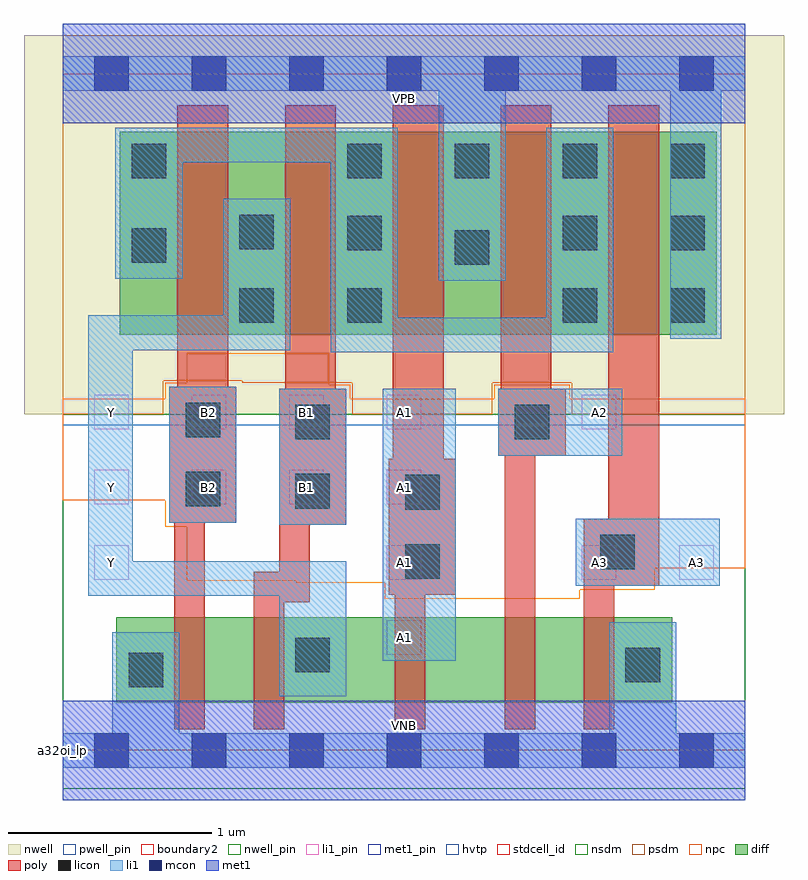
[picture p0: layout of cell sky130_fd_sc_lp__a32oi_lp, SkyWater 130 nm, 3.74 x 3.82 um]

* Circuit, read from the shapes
.subckt sky130_fd_sc_lp__a32oi_lp A1 A2 A3 B1 B2 VGND VNB VPB VPWR Y
XM1 n1 B2 VGND VNB sky130_fd_pr__nfet_01v8 w=0.42 l=0.15
XM2 Y B1 n1 VNB sky130_fd_pr__nfet_01v8 w=0.42 l=0.15
XM3 n2 A1 Y VNB sky130_fd_pr__nfet_01v8 w=0.42 l=0.15
XM4 n3 A2 n2 VNB sky130_fd_pr__nfet_01v8 w=0.42 l=0.15
XM5 VGND A3 n3 VNB sky130_fd_pr__nfet_01v8 w=0.42 l=0.15
XM6 Y B2 n4 VPB sky130_fd_pr__pfet_01v8_hvt w=1 l=0.25
XM7 n4 B1 Y VPB sky130_fd_pr__pfet_01v8_hvt w=1 l=0.25
XM8 VPWR A1 n4 VPB sky130_fd_pr__pfet_01v8_hvt w=1 l=0.25
XM9 n4 A2 VPWR VPB sky130_fd_pr__pfet_01v8_hvt w=1 l=0.25
XM10 VPWR A3 n4 VPB sky130_fd_pr__pfet_01v8_hvt w=1 l=0.25
.ends

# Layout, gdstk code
import gdstk
lib = gdstk.Library(unit=1e-6, precision=1e-09)
def R(c, l, rs):  # rectangles x0, y0, x1, y1
    for r in rs: c.add(gdstk.rectangle(r[:2], r[2:], *l))
def A(c, l, x, y, w, h, nx, ny, dx, dy):  # array of equal rectangles
    R(c, l, [(x+i*dx, y+j*dy, x+i*dx+w, y+j*dy+h) for i in range(nx) for j in range(ny)])
def P(c, l, *ps):  # polygons
    for p in ps: c.add(gdstk.Polygon(p, *l))
nwell_pin = (64, 16)
nwell = (64, 20)
diff = (65, 20)
poly = (66, 20)
licon = (66, 44)
li1_pin = (67, 16)
li1 = (67, 20)
mcon = (67, 44)
met1_pin = (68, 16)
met1 = (68, 20)
hvtp = (78, 44)
stdcell_id = (81, 4)
nsdm = (93, 44)
psdm = (94, 20)
npc = (95, 20)
pwell_pin = (122, 16)
boundary2 = (236, 0)

sky130_fd_sc_lp__a32oi_l = lib.new_cell('sky130_fd_sc_lp__a32oi_lp')
R(sky130_fd_sc_lp__a32oi_l, nwell_pin, [(0,3.085,3.36,3.33)])
R(sky130_fd_sc_lp__a32oi_l, nwell, [(-0.19,1.655,3.55,3.52)])
R(sky130_fd_sc_lp__a32oi_l, diff, [(0.265,0.235,3,0.655), (0.28,2.045,3.22,3.045)])
P(sky130_fd_sc_lp__a32oi_l, poly, [(0.855,1.79),(0.815,1.79),(0.815,3.175),(0.565,3.175),(0.565,1.79),(0.525,1.79),(0.525,1.12),(0.55,1.12),(0.55,0.105),(0.7,0.105),(0.7,1.12),(0.855,1.12)],
  [(1.395,1.78),(1.345,1.78),(1.345,3.175),(1.095,3.175),(1.095,1.78),(1.065,1.78),(1.065,0.88),(0.94,0.88),(0.94,0.105),(1.09,0.105),(1.09,0.73),(1.215,0.73),(1.215,1.11),(1.395,1.11)],
  [(1.935,1.435),(1.875,1.435),(1.875,3.175),(1.625,3.175),(1.625,1.435),(1.605,1.435),(1.605,0.765),(1.635,0.765),(1.635,0.105),(1.785,0.105),(1.785,0.765),(1.935,0.765)],
  [(2.475,1.78),(2.405,1.78),(2.405,3.175),(2.155,3.175),(2.155,1.78),(2.145,1.78),(2.145,1.45),(2.175,1.45),(2.175,0.105),(2.325,0.105),(2.325,1.45),(2.475,1.45)],
  [(2.935,3.175),(2.685,3.175),(2.685,1.14),(2.565,1.14),(2.565,0.105),(2.715,0.105),(2.715,0.81),(2.935,0.81)])
A(sky130_fd_sc_lp__a32oi_l, licon, 1.4, 2.815, 0.17, 0.17, 4, 1, 0.53, 0)
R(sky130_fd_sc_lp__a32oi_l, licon, [(0.325,0.31,0.495,0.48), (2.77,0.335,2.94,0.505), (1.145,0.385,1.315,0.555), (1.685,0.845,1.855,1.015), (2.645,0.89,2.815,1.06), (1.685,1.185,1.855,1.355), (1.145,1.19,1.315,1.36), (0.605,1.2,0.775,1.37), (1.145,1.53,1.315,1.7), (2.225,1.53,2.395,1.7), (0.605,1.54,0.775,1.71), (0.87,2.105,1.04,2.275), (1.4,2.105,1.57,2.275), (2.46,2.105,2.63,2.275), (2.99,2.105,3.16,2.275), (1.93,2.39,2.1,2.56), (0.34,2.4,0.51,2.57), (1.4,2.46,1.57,2.63), (2.46,2.46,2.63,2.63), (2.99,2.46,3.16,2.63), (0.87,2.465,1.04,2.635), (0.34,2.815,0.51,2.985)])
A(sky130_fd_sc_lp__a32oi_l, li1_pin, 0.155, 1.21, 0.17, 0.17, 4, 2, 0.48, 0.37)
R(sky130_fd_sc_lp__a32oi_l, li1_pin, [(1.595,0.47,1.765,0.64), (0.155,0.84,0.325,1.01), (1.595,0.84,1.765,1.01), (2.555,0.84,2.725,1.01), (3.035,0.84,3.205,1.01), (2.555,1.58,2.725,1.75)])
R(sky130_fd_sc_lp__a32oi_l, li1, [(1.575,0.44,1.935,1.78), (2.525,0.81,3.235,1.14), (1.065,1.11,1.395,1.78), (0.525,1.12,0.855,1.79), (2.145,1.45,2.755,1.78)])
P(sky130_fd_sc_lp__a32oi_l, li1, [(2.99,2.025),(2.99,3.245),(2.18,3.245),(2.18,2.31),(1.85,2.31),(1.85,3.245),(0,3.245),(0,3.415),(3.36,3.415),(3.36,3.245),(3.24,3.245),(3.24,2.025)],
  [(0.245,0.085),(0.245,0.58),(0.575,0.58),(0.575,0.085),(2.69,0.085),(2.69,0.63),(3.02,0.63),(3.02,0.085),(3.36,0.085),(3.36,-0.085),(0,-0.085),(0,0.085)],
  [(2.38,2.13),(2.38,3.065),(2.71,3.065),(2.71,1.96),(1.32,1.96),(1.32,2.895),(0.59,2.895),(0.59,2.32),(0.26,2.32),(0.26,3.065),(1.65,3.065),(1.65,2.13)],
  [(0.125,0.76),(0.125,2.14),(0.79,2.14),(0.79,2.715),(1.12,2.715),(1.12,1.97),(0.345,1.97),(0.345,0.93),(1.395,0.93),(1.395,0.265),(1.065,0.265),(1.065,0.76)])
A(sky130_fd_sc_lp__a32oi_l, mcon, 0.155, -0.085, 0.17, 0.17, 7, 2, 0.48, 3.33)
R(sky130_fd_sc_lp__a32oi_l, met1_pin, [(0,0,3.36,0.245), (0,3.085,3.36,3.33)])
R(sky130_fd_sc_lp__a32oi_l, met1, [(0,-0.245,3.36,0.245), (0,3.085,3.36,3.575)])
R(sky130_fd_sc_lp__a32oi_l, hvtp, [(0,1.6,3.36,3.33)])
R(sky130_fd_sc_lp__a32oi_l, stdcell_id, [(0,0,3.36,3.33)])
R(sky130_fd_sc_lp__a32oi_l, nsdm, [(0,-0.19,3.36,1.655)])
P(sky130_fd_sc_lp__a32oi_l, psdm, [(3.36,3.52),(0,3.52),(0,1.655),(0.495,1.655),(0.495,1.82),(0.885,1.82),(0.885,1.81),(1.425,1.81),(1.425,1.655),(2.115,1.655),(2.115,1.81),(2.505,1.81),(2.505,1.655),(3.36,1.655)])
P(sky130_fd_sc_lp__a32oi_l, npc, [(3.36,1.73),(2.495,1.73),(2.495,1.8),(2.125,1.8),(2.125,1.73),(1.415,1.73),(1.415,1.8),(1.31,1.8),(1.31,1.955),(0.61,1.955),(0.61,1.81),(0.505,1.81),(0.505,1.73),(0,1.73),(0,1.23),(0.505,1.23),(0.505,1.1),(0.61,1.1),(0.61,0.835),(1.15,0.835),(1.15,0.825),(1.585,0.825),(1.585,0.745),(2.545,0.745),(2.545,0.79),(2.915,0.79),(2.915,0.895),(3.36,0.895)])
R(sky130_fd_sc_lp__a32oi_l, pwell_pin, [(0,0,3.36,0.245)])
R(sky130_fd_sc_lp__a32oi_l, boundary2, [(0,0,3.36,3.33)])
sky130_fd_sc_lp__a32oi_l.add(gdstk.Label('VNB', (1.68,0.123), layer=64, texttype=59))
sky130_fd_sc_lp__a32oi_l.add(gdstk.Label('VPB', (1.68,3.208), layer=64, texttype=5))
sky130_fd_sc_lp__a32oi_l.add(gdstk.Label('a32oi_lp', (0,0), layer=83, texttype=44))
sky130_fd_sc_lp__a32oi_l.add(gdstk.Label('VPWR', (1.68,3.208), layer=68, texttype=5))
sky130_fd_sc_lp__a32oi_l.add(gdstk.Label('VGND', (1.68,0.123), layer=68, texttype=5))
sky130_fd_sc_lp__a32oi_l.add(gdstk.Label('B2', (0.72,1.295), layer=67, texttype=5))
sky130_fd_sc_lp__a32oi_l.add(gdstk.Label('B2', (0.72,1.665), layer=67, texttype=5))
sky130_fd_sc_lp__a32oi_l.add(gdstk.Label('A3', (2.64,0.925), layer=67, texttype=5))
sky130_fd_sc_lp__a32oi_l.add(gdstk.Label('A3', (3.12,0.925), layer=67, texttype=5))
sky130_fd_sc_lp__a32oi_l.add(gdstk.Label('A2', (2.64,1.665), layer=67, texttype=5))
sky130_fd_sc_lp__a32oi_l.add(gdstk.Label('A1', (1.68,0.555), layer=67, texttype=5))
sky130_fd_sc_lp__a32oi_l.add(gdstk.Label('A1', (1.68,0.925), layer=67, texttype=5))
sky130_fd_sc_lp__a32oi_l.add(gdstk.Label('A1', (1.68,1.295), layer=67, texttype=5))
sky130_fd_sc_lp__a32oi_l.add(gdstk.Label('A1', (1.68,1.665), layer=67, texttype=5))
sky130_fd_sc_lp__a32oi_l.add(gdstk.Label('B1', (1.2,1.295), layer=67, texttype=5))
sky130_fd_sc_lp__a32oi_l.add(gdstk.Label('B1', (1.2,1.665), layer=67, texttype=5))
sky130_fd_sc_lp__a32oi_l.add(gdstk.Label('Y', (0.24,0.925), layer=67, texttype=5))
sky130_fd_sc_lp__a32oi_l.add(gdstk.Label('Y', (0.24,1.295), layer=67, texttype=5))
sky130_fd_sc_lp__a32oi_l.add(gdstk.Label('Y', (0.24,1.665), layer=67, texttype=5))

lib.write_gds('sky130_fd_sc_lp__a32oi_lp.gds')
